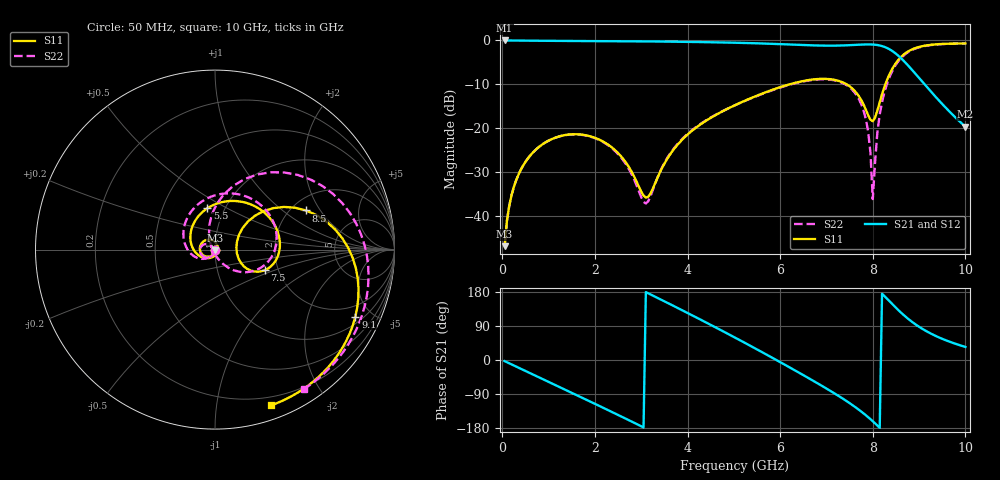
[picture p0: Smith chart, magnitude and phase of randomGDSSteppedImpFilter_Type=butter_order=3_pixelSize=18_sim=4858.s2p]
! freq	dB(S11)	phase(S11)	dB(S12)	phase(S12)
!  dB(S21)	phase(S21)	dB(S22)	phase(S22)
!S-par simulation data
#  GHz  S  DB  R 50
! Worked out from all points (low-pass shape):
!   200 points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, 50 MHz to 10 GHz, reference 50 ohm
!   highest |S21| = -0.01 dB at 50 MHz (marker M1); lowest = -19.7 dB at 10 GHz (marker M2)
!   |S21| within 3 dB of the highest: start of sweep to 8.497 GHz
!   lowest |S11| = -47.0 dB at 50 MHz (marker M3), VSWR 1.01, Z = 50 - j0.446 ohm
!   |S11| at or under -10 dB: start of sweep to 6.211 GHz; 7.43 GHz to 8.273 GHz (843.3 MHz wide, 10.7 % of centre)
!   |S22| runs from -47.0 to -0.7 dB; largest |S21 - S12| = 0
!   S11 on the Smith chart (normalised r, x): 50 MHz: 1.00, -0.01; 5.5 GHz: 0.83, +0.40; 7.5 GHz: 1.69, -0.43; 8.5 GHz: 2.39, +1.50; 9.1 GHz: 1.33, -3.99; 10 GHz: 0.12, -1.41
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0.05  -47.01 -89.6  -0.01 -2.9  -0.01 -2.9  -47.00 -89.2
0.2  -35.35 -101.4  -0.02 -11.6  -0.02 -11.6  -35.34 -99.8
0.5  -27.75 -121.3  -0.05 -28.9  -0.05 -28.9  -27.74 -117.2
1.15  -22.19 -162.6  -0.11 -66.4  -0.11 -66.4  -22.21 -152.5
1.75  -21.57 158.4  -0.15 -101.1  -0.15 -101.1  -21.62 176.5
2.5  -25.73 102.7  -0.18 -145.0  -0.18 -145.0  -25.96 143.2
3.1  -35.90 -5.4  -0.22 179.2  -0.22 179.2  -37.25 -173.5
3.4  -30.22 -88.3  -0.25 161.0  -0.25 161.0  -30.13 -126.8
4.25  -19.41 -169.8  -0.37 108.5  -0.37 108.5  -19.29 -154.7
5.05  -14.67 131.3  -0.53 57.5  -0.53 57.5  -14.68 160.9
5.5  -12.61 100.4  -0.66 28.0  -0.66 28.0  -12.68 132.5
6.1  -10.34 61.5  -0.88 -12.4  -0.88 -12.4  -10.44 91.2
6.7  -8.92 24.3  -1.13 -53.9  -1.13 -53.9  -9.02 47.3
7.5  -10.48 -22.7  -1.09 -113.8  -1.09 -113.8  -10.72 -16.9
7.85  -15.81 -27.1  -0.91 -145.7  -0.91 -145.7  -17.94 -53.4
7.95  -18.13 -10.0  -0.91 -156.1  -0.91 -156.1  -25.66 -72.2
8  -18.45 5.2  -0.94 -161.5  -0.94 -161.5  -36.24 -124.5
8.15  -14.12 38.2  -1.16 -178.9  -1.16 -178.9  -16.93 102.6
8.35  -7.98 35.4  -1.96 156.3  -1.96 156.3  -8.66 74.1
8.5  -5.16 23.3  -3.03 137.8  -3.03 137.8  -5.52 54.4
9.1  -1.24 -25.5  -9.80 80.1  -9.80 80.1  -1.32 -6.4
10  -0.70 -70.3  -19.72 34.5  -19.72 34.5  -0.71 -57.6
